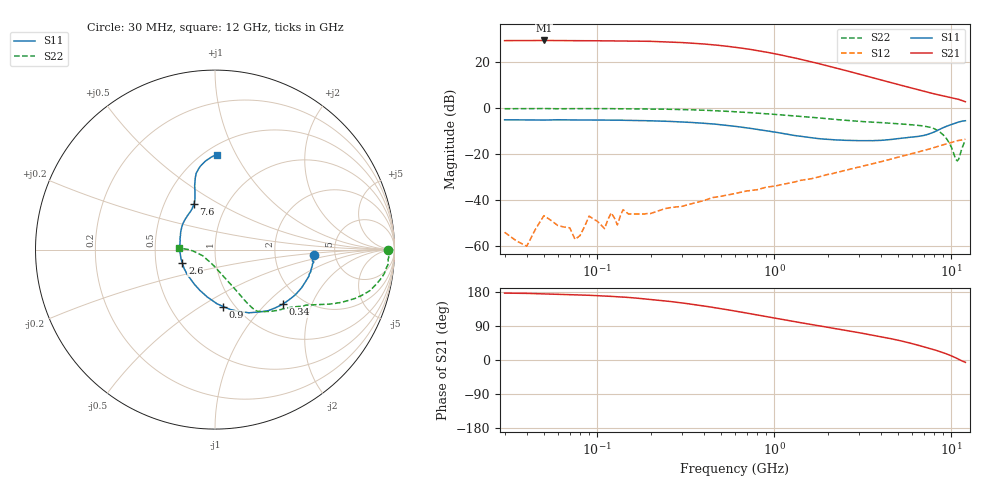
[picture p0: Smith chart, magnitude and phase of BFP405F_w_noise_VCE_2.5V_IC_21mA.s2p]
! Infineon Technologies  Discrete & RF Semiconductors
! BFP405F
! VCE =  2.5 V,  IC =  21 mA
! Common Emitter S-Parameters:  Nov 2015
# GHz  S  MA  R  50
!  f  S11  S21  S12  S22
! GHz  MAG  ANG  MAG  ANG  MAG  ANG  MAG  ANG
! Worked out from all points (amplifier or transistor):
!   239 points, 30 MHz to 12 GHz, reference 50 ohm
!   highest |S21| = 29.3 dB at 50 MHz (marker M1)
!   |S21| within 3 dB of that: start of sweep to 607.4 MHz
!   unconditionally stable (mu >= 1): 1.553 GHz to end of sweep
!   at 300 MHz: K = 0.38, MSG = 35.6 dB, |S12| = -42.7 dB
!   at 1.88 GHz: K = 1.10, MAG = 22.2 dB, |S12| = -29.5 dB
!   at 12 GHz: K = 1.39, MAG = 4.4 dB, |S12| = -13.6 dB
!   lowest NFmin = 2.30 dB at 450 MHz
!   S11 on the Smith chart (normalised r, x): 30 MHz: 3.46, -0.31; 340 MHz: 1.60, -1.27; 900 MHz: 0.89, -0.63; 2.6 GHz: 0.69, -0.11; 7.6 GHz: 0.70, +0.39; 12 GHz: 0.58, +0.84
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0.03  0.5543 -3.2  28.97 176.5  0.002 61.1  0.9631 -0.2
0.04  0.5525 -4.4  29.02 175.8  0.001 130.9  0.9634 -0.6
0.05  0.5457 -6.6  29.22 174.4  0.0046 44.8  0.9728 -1.4
0.075  0.5492 -8.9  28.87 171.8  0.0014 63.6  0.9678 -2.3
0.085  0.5482 -10.1  28.83 171.1  0.0027 79.5  0.9675 -2.8
0.15  0.538 -18.2  28.45 165.1  0.005 92.9  0.9611 -5.9
0.2  0.5272 -23.8  27.96 159.6  0.0051 78.7  0.9528 -8.0
0.24  0.516 -28.3  27.24 156.1  0.0065 83.2  0.9417 -9.5
0.3  0.4975 -34.5  26.33 150.6  0.0073 73.7  0.9236 -11.6
0.34  0.4851 -38.6  25.56 147.3  0.0083 75.3  0.9123 -12.8
0.45  0.4506 -49.1  23.56 138.8  0.0114 77.2  0.8766 -15.9
0.6  0.3999 -61.7  20.81 129.0  0.0139 72.6  0.8287 -19.1
0.7  0.3703 -68.7  19.2 123.6  0.0158 73.3  0.8003 -20.6
0.9  0.3206 -81.9  16.32 114.4  0.0191 71.1  0.7496 -23.3
1.3  0.2529 -104.6  12.22 101.1  0.0247 70.7  0.6726 -27.0
1.64  0.2241 -121.1  9.933 93.3  0.0295 71.1  0.6253 -29.5
2.1  0.2061 -140.5  7.846 84.6  0.037 70.4  0.5751 -33.3
2.6  0.1971 -157.3  6.316 77.2  0.0454 69.7  0.5358 -36.8
4.5  0.2066 160.0  3.589 56.9  0.0765 63.3  0.4682 -47.0
7.6  0.2789 114.9  2.124 30.1  0.1305 50.7  0.3797 -57.6
10.8  0.4845 97.9  1.564 3.7  0.1944 31.9  0.071 -131.9
12  0.5285 88.5  1.365 -6.2  0.21 24.9  0.2006 177.6
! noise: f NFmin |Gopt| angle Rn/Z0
0.45  2.3  0.01  -63  0.46
0.9  2.31  0.02  -121  0.35
1.5  2.37  0.04  -124  0.41
1.9  2.45  0.05  -124  0.51
2.4  2.59  0.07  -124  0.18
3  2.69  0.08  -122  0.18
3.5  2.77  0.1  -119  0.26
4.5  3.02  0.15  -105  0.51
5.5  3.36  0.26  -88  0.5
